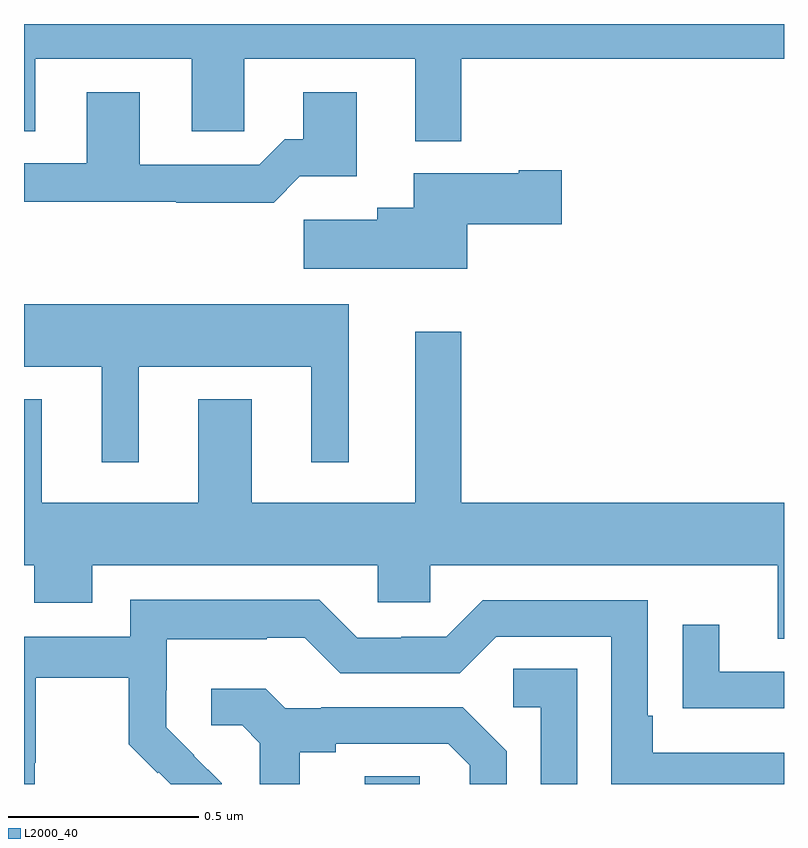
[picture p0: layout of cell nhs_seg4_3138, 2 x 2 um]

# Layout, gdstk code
import gdstk
lib = gdstk.Library(unit=1e-6, precision=1e-09)
def R(c, l, rs):  # rectangles x0, y0, x1, y1
    for r in rs: c.add(gdstk.rectangle(r[:2], r[2:], *l))
def P(c, l, *ps):  # polygons
    for p in ps: c.add(gdstk.Polygon(p, *l))
L2000_40 = (2000, 40)

nhs_seg4_3138 = lib.new_cell('nhs_seg4_3138')
R(nhs_seg4_3138, L2000_40, [(149.897,806.9,150.042,806.921)])
P(nhs_seg4_3138, L2000_40, [(150.151,808.808),(151,808.808),(151,808.9),(149,808.9),(149,808.618),(149.029,808.618),(149.029,808.808),(149.441,808.808),(149.441,808.618),(149.58,808.618),(149.58,808.808),(150.029,808.808),(150.029,808.592),(150.151,808.592)],
  [(149.726,808.499),(149.875,808.499),(149.875,808.72),(149.735,808.72),(149.735,808.597),(149.686,808.597),(149.619,808.53),(149.305,808.53),(149.305,808.72),(149.165,808.72),(149.165,808.533),(149,808.533),(149,808.432),(149.401,808.432),(149.401,808.43),(149.657,808.43)],
  [(150.166,808.373),(150.415,808.373),(150.415,808.515),(150.302,808.515),(150.302,808.507),(150.026,808.507),(150.026,808.417),(149.93,808.417),(149.93,808.385),(149.736,808.385),(149.736,808.256),(150.166,808.256)],
  [(149.302,807.998),(149.756,807.998),(149.756,807.747),(149.854,807.747),(149.854,808.162),(149,808.162),(149,807.998),(149.204,807.998),(149.204,807.747),(149.302,807.747)],
  [(151,807.64),(150.151,807.64),(150.151,808.09),(150.029,808.09),(150.029,807.64),(149.599,807.64),(149.599,807.913),(149.459,807.913),(149.459,807.64),(149.047,807.64),(149.047,807.913),(149,807.913),(149,807.476),(149.027,807.476),(149.027,807.377),(149.179,807.377),(149.179,807.476),(149.931,807.476),(149.931,807.378),(150.069,807.378),(150.069,807.476),(150.983,807.476),(150.983,807.282),(151,807.282)],
  [(149.028,806.956),(149.031,806.956),(149.031,807.18),(149.275,807.18),(149.275,807.005),(149.352,806.928),(149.355,806.931),(149.386,806.9),(149.52,806.9),(149.52,806.902),(149.447,806.975),(149.448,806.976),(149.374,807.05),(149.374,807.147),(149.376,807.147),(149.376,807.281),(149.639,807.281),(149.639,807.285),(149.739,807.285),(149.832,807.192),(150.147,807.192),(150.243,807.288),(150.546,807.288),(150.546,806.9),(151,806.9),(151,806.982),(150.655,806.982),(150.655,807.079),(150.642,807.079),(150.642,807.384),(150.207,807.384),(150.111,807.288),(149.993,807.288),(149.993,807.285),(149.877,807.285),(149.777,807.385),(149.28,807.385),(149.28,807.288),(149,807.288),(149,806.9),(149.028,806.9)],
  [(151,807.195),(150.829,807.195),(150.829,807.319),(150.733,807.319),(150.733,807.1),(150.835,807.1),(150.835,807.099),(151,807.099)],
  [(150.456,807.203),(150.288,807.203),(150.288,807.102),(150.36,807.102),(150.36,806.9),(150.456,806.9)],
  [(149.725,806.984),(149.821,806.984),(149.821,807.006),(150.116,807.006),(150.173,806.949),(150.173,806.9),(150.27,806.9),(150.27,806.986),(150.154,807.102),(149.782,807.102),(149.782,807.099),(149.688,807.099),(149.636,807.151),(149.493,807.151),(149.493,807.054),(149.574,807.054),(149.621,807.007),(149.621,806.9),(149.725,806.9)])

lib.write_gds('nhs_seg4_3138.gds')
